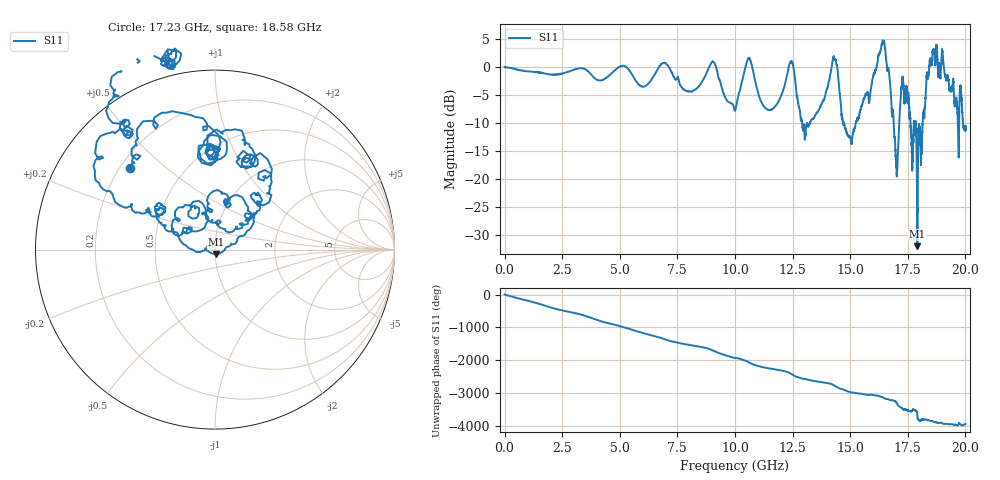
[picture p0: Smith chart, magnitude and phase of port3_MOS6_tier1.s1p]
! Created with skrf 1.8.0 (http://scikit-rf.org).
# GHz S RI R 50.0
!freq ReS11 ImS11
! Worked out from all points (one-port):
!   10000 points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, 3 MHz to 20 GHz, reference 50 ohm
!   lowest |S11| = -32.0 dB at 17.91 GHz (marker M1), VSWR 1.05, Z = 50.5 - j2.49 ohm
!   |S11| at or under -10 dB: 12.91 GHz to 13.25 GHz (342.3 MHz wide, 2.62 % of centre); 14.73 GHz to 15.24 GHz (517.7 MHz wide, 3.45 % of centre); 17.85 GHz to 18.15 GHz (296.6 MHz wide, 1.65 % of centre) (the widest 3 of 11)
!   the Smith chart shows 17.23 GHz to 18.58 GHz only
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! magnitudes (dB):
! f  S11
! 3 MHz  0.0
! 2.503 GHz  -1.2
! 5.003 GHz  0.1
! 5.959 GHz  -3.5
! 6.891 GHz  0.7
! 7.503 GHz  -1.9
! 8.187 GHz  -4.2
! 9.057 GHz  0.9
! 10 GHz  -7.8
! 10.58 GHz  1.6
! 11.47 GHz  -7.7
! 12.5 GHz  0.6
! 13.02 GHz  -12.4
! 13.81 GHz  -6.2
! 14.34 GHz  1.3
! 14.7 GHz  -10.1
! 15 GHz  -12.5
! 16.41 GHz  4.7
! 16.68 GHz  -0.9
! 17 GHz  -16.8
! 17.24 GHz  -3.7
! 17.5 GHz  -6.1
! 17.65 GHz  -12.6
! 17.91 GHz  -32.0
! 18 GHz  -11.4
! 18.39 GHz  -1.5
! 18.67 GHz  2.2
! 20 GHz  -10.5
